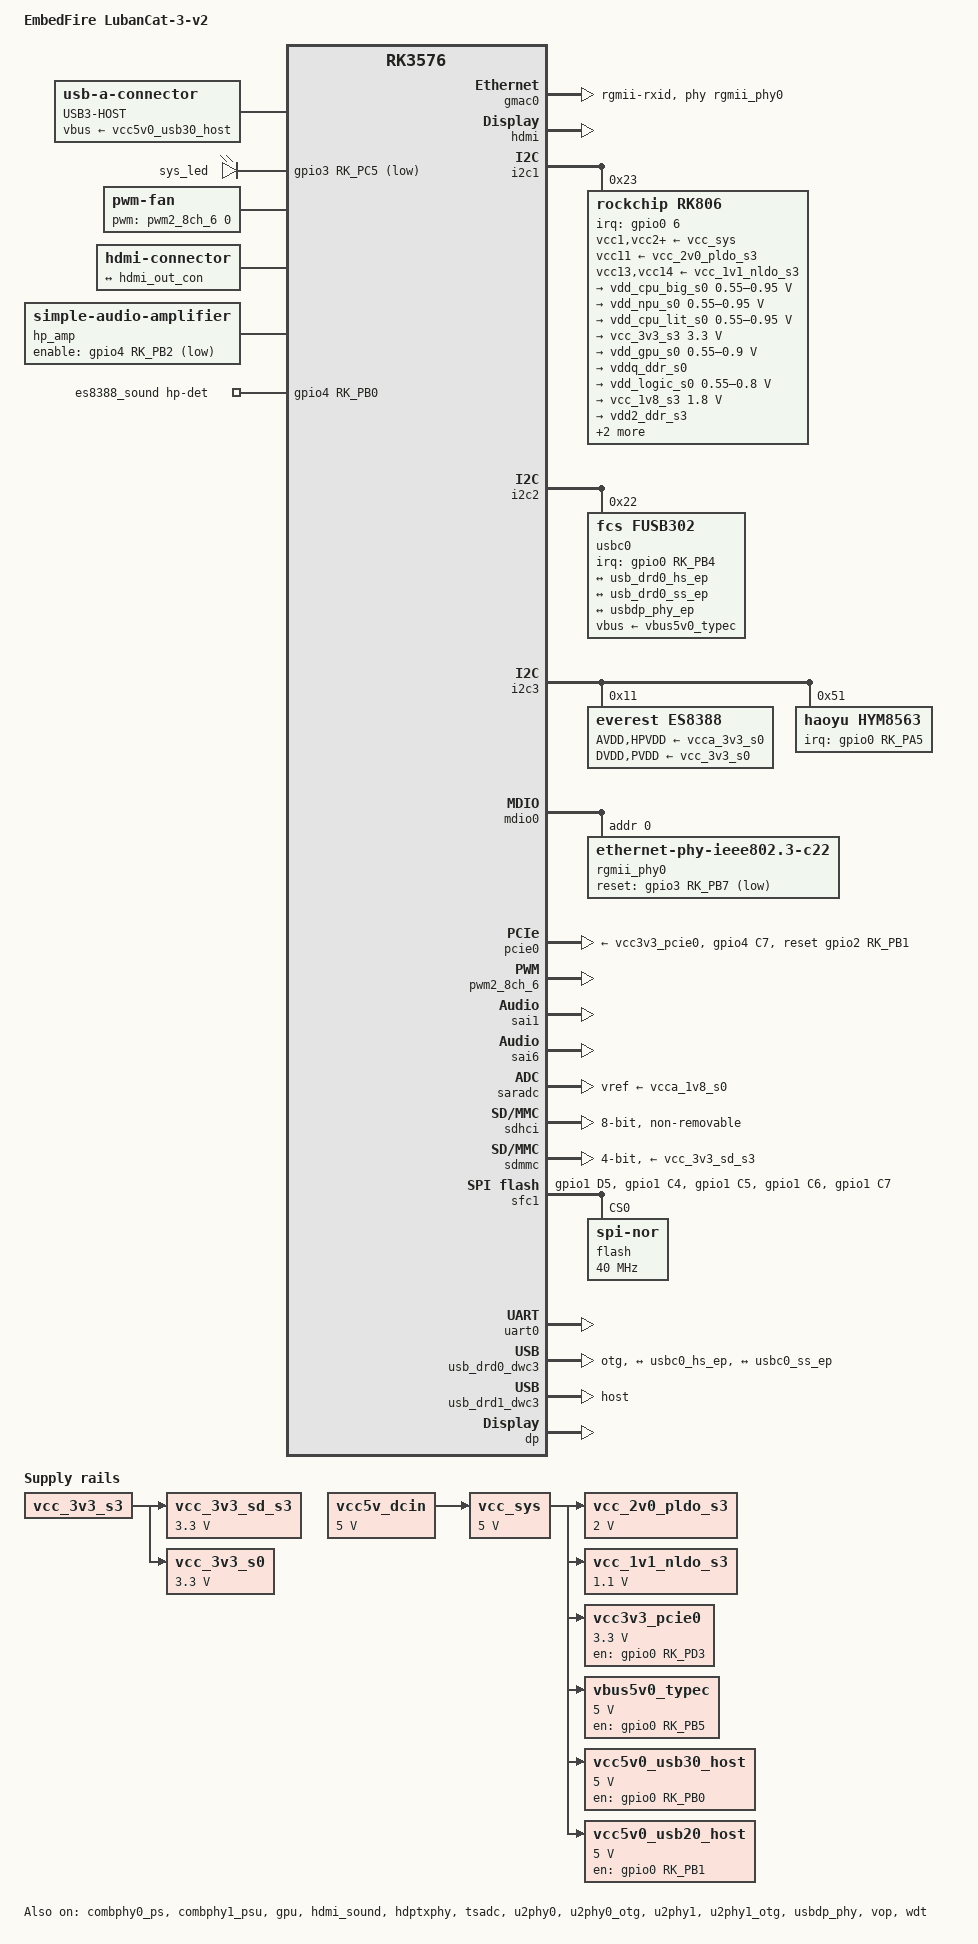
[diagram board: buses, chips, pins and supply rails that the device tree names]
// SPDX-License-Identifier: (GPL-2.0+ OR MIT)
/*
 * Copyright (c) 2026 Rockchip Electronics Co., Ltd.
 * Copyright (c) 2026 EmbedFire <embedfire@embedfire.com>
 */

/dts-v1/;

#include <dt-bindings/gpio/gpio.h>
#include <dt-bindings/input/input.h>
#include <dt-bindings/pinctrl/rockchip.h>
#include <dt-bindings/pwm/pwm.h>
#include <dt-bindings/soc/rockchip,vop2.h>
#include <dt-bindings/usb/pd.h>
#include "rk3576.dtsi"

/ {
	model = "EmbedFire LubanCat-3-v2";
	compatible = "embedfire,rk3576-lubancat-3-v2", "rockchip,rk3576";

	aliases {
		ethernet0 = &gmac0;
		mmc0 = &sdmmc;
		mmc1 = &sdhci;
		rtc0 = &hym8563;
	};

	chosen {
		stdout-path = "serial0:1500000n8";
	};

	vcc5v_dcin: vcc5v-dcin {
		compatible = "regulator-fixed";
		regulator-name = "vcc5v_dcin";
		regulator-always-on;
		regulator-boot-on;
		regulator-min-microvolt = <5000000>;
		regulator-max-microvolt = <5000000>;
	};

	vcc_sys: vcc5v0-sys {
		compatible = "regulator-fixed";
		regulator-name = "vcc_sys";
		regulator-always-on;
		regulator-boot-on;
		regulator-min-microvolt = <5000000>;
		regulator-max-microvolt = <5000000>;
		vin-supply = <&vcc5v_dcin>;
	};

	vcc_2v0_pldo_s3: vcc-2v0-pldo-s3 {
		compatible = "regulator-fixed";
		regulator-name = "vcc_2v0_pldo_s3";
		regulator-boot-on;
		regulator-always-on;
		regulator-min-microvolt = <2000000>;
		regulator-max-microvolt = <2000000>;
		vin-supply = <&vcc_sys>;
	};

	vcc_1v1_nldo_s3: vcc-1v1-nldo-s3 {
		compatible = "regulator-fixed";
		regulator-name = "vcc_1v1_nldo_s3";
		regulator-boot-on;
		regulator-always-on;
		regulator-min-microvolt = <1100000>;
		regulator-max-microvolt = <1100000>;
		vin-supply = <&vcc_sys>;
	};

	vcc_3v3_sd_s3: vcc-3v3-sd-s3 {
		compatible = "regulator-fixed";
		regulator-name = "vcc_3v3_sd_s3";
		regulator-always-on;
		regulator-boot-on;
		regulator-min-microvolt = <3300000>;
		regulator-max-microvolt = <3300000>;
		vin-supply = <&vcc_3v3_s3>;
	};

	vcc3v3_pcie0: vcc3v3-pcie0 {
		compatible = "regulator-fixed";
		regulator-name = "vcc3v3_pcie0";
		regulator-min-microvolt = <3300000>;
		regulator-max-microvolt = <3300000>;
		enable-active-high;
		regulator-always-on;
		gpios = <&gpio0 RK_PD3 GPIO_ACTIVE_HIGH>;
		startup-delay-us = <5000>;
		vin-supply = <&vcc_sys>;
	};

	vbus5v0_typec: vbus5v0-typec {
		compatible = "regulator-fixed";
		regulator-name = "vbus5v0_typec";
		regulator-min-microvolt = <5000000>;
		regulator-max-microvolt = <5000000>;
		enable-active-high;
		gpio = <&gpio0 RK_PB5 GPIO_ACTIVE_HIGH>;
		vin-supply = <&vcc_sys>;
		pinctrl-names = "default";
		pinctrl-0 = <&typec_vbus_en>;
	};

	usb3_host: connector-usb3-host {
		compatible = "usb-a-connector";
		label = "USB3-HOST";
		vbus-supply = <&vcc5v0_usb30_host>;
	};

	vcc5v0_usb30_host: vcc5v0-usb30-host {
		compatible = "regulator-fixed";
		regulator-name = "vcc5v0_usb30_host";
		regulator-min-microvolt = <5000000>;
		regulator-max-microvolt = <5000000>;
		regulator-always-on;
		regulator-boot-on;
		enable-active-high;
		gpio = <&gpio0 RK_PB0 GPIO_ACTIVE_HIGH>;
		vin-supply = <&vcc_sys>;
		pinctrl-names = "default";
		pinctrl-0 = <&usb30_host_pwr_en>;
	};

	vcc5v0_usb20_host: vcc5v0-usb20-host {
		compatible = "regulator-fixed";
		regulator-name = "vcc5v0_usb20_host";
		regulator-min-microvolt = <5000000>;
		regulator-max-microvolt = <5000000>;
		regulator-always-on;
		regulator-boot-on;
		enable-active-high;
		gpio = <&gpio0 RK_PB1 GPIO_ACTIVE_HIGH>;
		vin-supply = <&vcc_sys>;
		pinctrl-names = "default";
		pinctrl-0 = <&usb20_host_pwr_en>;
	};

	leds: leds {
		status = "okay";
		compatible = "gpio-leds";

		sys_led: sys-led {
			label = "sys_led";
			linux,default-trigger = "heartbeat";
			default-state = "on";
			gpios = <&gpio3 RK_PC5 GPIO_ACTIVE_LOW>;
			pinctrl-names = "default";
			pinctrl-0 = <&sys_status_led_pin>;
		};
	};

	/* U30 is switched by PMIC_PWR_CTRL2, not a SoC GPIO (schematic sheet 6). */
	vcc_3v3_s0: regulator-vcc-3v3-s0 {
		compatible = "regulator-fixed";
		regulator-name = "vcc_3v3_s0";
		regulator-min-microvolt = <3300000>;
		regulator-max-microvolt = <3300000>;
		regulator-always-on;
		regulator-boot-on;
		vin-supply = <&vcc_3v3_s3>;
	};

	fan: pwm-fan {
		compatible = "pwm-fan";
		#cooling-cells = <2>;
		pwms = <&pwm2_8ch_6 0 5000 0>;
		cooling-levels = <0 100 150 200 255>;
	};

	hdmi-con {
		compatible = "hdmi-connector";
		type = "c";

		port {
			hdmi_con_in: endpoint {
				remote-endpoint = <&hdmi_out_con>;
			};
		};
	};

	/* Q11/Q12 shunt the headphone outputs when EARPHONE_CTL is high. */
	hp_amp: audio-amplifier {
		compatible = "simple-audio-amplifier";
		enable-gpios = <&gpio4 RK_PB2 GPIO_ACTIVE_LOW>;
		sound-name-prefix = "Headphone Amp";
	};

	es8388_sound: sound {
		compatible = "simple-audio-card";
		pinctrl-names = "default";
		pinctrl-0 = <&hp_det>;
		simple-audio-card,name = "LubanCat ES8388";
		simple-audio-card,format = "i2s";
		simple-audio-card,mclk-fs = <256>;
		simple-audio-card,aux-devs = <&hp_amp>;
		simple-audio-card,hp-det-gpios = <&gpio4 RK_PB0 GPIO_ACTIVE_HIGH>;
		simple-audio-card,widgets = "Headphone", "Headphone",
					    "Microphone", "Main Mic",
					    "Microphone", "Headset Mic";
		/* Sheet 22: onboard MIC2 uses input 2; the jack uses input 1. */
		simple-audio-card,routing = "Headphone", "Headphone Amp OUTL",
					    "Headphone", "Headphone Amp OUTR",
					    "Headphone Amp INL", "LOUT1",
					    "Headphone Amp INR", "ROUT1",
					    "LINPUT2", "Main Mic",
					    "RINPUT2", "Main Mic",
					    "LINPUT1", "Headset Mic",
					    "RINPUT1", "Headset Mic";

		simple-audio-card,cpu {
			sound-dai = <&sai1>;
		};

		simple-audio-card,codec {
			sound-dai = <&es8388>;
			system-clock-frequency = <12288000>;
		};
	};
};

&combphy0_ps {
	status = "okay";
};

&combphy1_psu {
	status = "okay";
};

&cpu_b0 {
	cpu-supply = <&vdd_cpu_big_s0>;
};

&cpu_b1 {
	cpu-supply = <&vdd_cpu_big_s0>;
};

&cpu_b2 {
	cpu-supply = <&vdd_cpu_big_s0>;
};

&cpu_b3 {
	cpu-supply = <&vdd_cpu_big_s0>;
};

&cpu_l0 {
	cpu-supply = <&vdd_cpu_lit_s0>;
};

&cpu_l1 {
	cpu-supply = <&vdd_cpu_lit_s0>;
};

&cpu_l2 {
	cpu-supply = <&vdd_cpu_lit_s0>;
};

&cpu_l3 {
	cpu-supply = <&vdd_cpu_lit_s0>;
};

&gmac0 {
	phy-mode = "rgmii-rxid";
	clock_in_out = "output";

	pinctrl-names = "default";
	pinctrl-0 = <&eth0m0_miim
			&eth0m0_tx_bus2
			&eth0m0_rx_bus2
			&eth0m0_rgmii_clk
			&eth0m0_rgmii_bus
			&eth0m0_mclk>;

	tx_delay = <0x05>;
	rx_delay = <0x05>;

	phy-handle = <&rgmii_phy0>;
	status = "okay";
};

&gpu {
	mali-supply = <&vdd_gpu_s0>;
	status = "okay";
};

&hdmi {
	frl-enable-gpios = <&gpio4 RK_PC6 GPIO_ACTIVE_LOW>;
	status = "okay";
};

&hdmi_in {
	hdmi_in_vp0: endpoint {
		remote-endpoint = <&vp0_out_hdmi>;
	};
};

&hdmi_out {
	hdmi_out_con: endpoint {
		remote-endpoint = <&hdmi_con_in>;
	};
};

&hdmi_sound {
	status = "okay";
};

&hdptxphy {
	status = "okay";
};

&i2c1 {
	pinctrl-names = "default";
	pinctrl-0 = <&i2c1m0_xfer>;
	status = "okay";

	rk806: pmic@23 {
		compatible = "rockchip,rk806";
		reg = <0x23>;

		interrupt-parent = <&gpio0>;
		interrupts = <6 IRQ_TYPE_LEVEL_LOW>;

		pinctrl-names = "default";
		pinctrl-0 = <&pmic_pins>;

		system-power-controller;

		vcc1-supply = <&vcc_sys>;
		vcc2-supply = <&vcc_sys>;
		vcc3-supply = <&vcc_sys>;
		vcc4-supply = <&vcc_sys>;
		vcc5-supply = <&vcc_sys>;
		vcc6-supply = <&vcc_sys>;
		vcc7-supply = <&vcc_sys>;
		vcc8-supply = <&vcc_sys>;
		vcc9-supply = <&vcc_sys>;
		vcc10-supply = <&vcc_sys>;
		vcc11-supply = <&vcc_2v0_pldo_s3>;
		vcc12-supply = <&vcc_sys>;
		vcc13-supply = <&vcc_1v1_nldo_s3>;
		vcc14-supply = <&vcc_1v1_nldo_s3>;
		vcca-supply = <&vcc_sys>;

		regulators {
			vdd_cpu_big_s0: dcdc-reg1 {
				regulator-always-on;
				regulator-boot-on;
				regulator-min-microvolt = <550000>;
				regulator-max-microvolt = <950000>;
				regulator-ramp-delay = <12500>;
				regulator-name = "vdd_cpu_big_s0";
				regulator-enable-ramp-delay = <400>;
				regulator-state-mem {
					regulator-off-in-suspend;
				};
			};

			vdd_npu_s0: dcdc-reg2 {
				regulator-boot-on;
				regulator-min-microvolt = <550000>;
				regulator-max-microvolt = <950000>;
				regulator-ramp-delay = <12500>;
				regulator-name = "vdd_npu_s0";
				regulator-enable-ramp-delay = <400>;
				regulator-state-mem {
					regulator-off-in-suspend;
				};
			};

			vdd_cpu_lit_s0: dcdc-reg3 {
				regulator-always-on;
				regulator-boot-on;
				regulator-min-microvolt = <550000>;
				regulator-max-microvolt = <950000>;
				regulator-ramp-delay = <12500>;
				regulator-name = "vdd_cpu_lit_s0";
				regulator-state-mem {
					regulator-off-in-suspend;
					regulator-suspend-microvolt = <750000>;
				};
			};

			vcc_3v3_s3: dcdc-reg4 {
				regulator-always-on;
				regulator-boot-on;
				regulator-min-microvolt = <3300000>;
				regulator-max-microvolt = <3300000>;
				regulator-name = "vcc_3v3_s3";
				regulator-state-mem {
					regulator-on-in-suspend;
					regulator-suspend-microvolt = <3300000>;
				};
			};

			vdd_gpu_s0: dcdc-reg5 {
				regulator-boot-on;
				regulator-min-microvolt = <550000>;
				regulator-max-microvolt = <900000>;
				regulator-ramp-delay = <12500>;
				regulator-name = "vdd_gpu_s0";
				regulator-enable-ramp-delay = <400>;
				regulator-state-mem {
					regulator-off-in-suspend;
					regulator-suspend-microvolt = <850000>;
				};
			};

			vddq_ddr_s0: dcdc-reg6 {
				regulator-always-on;
				regulator-boot-on;
				regulator-name = "vddq_ddr_s0";
				regulator-state-mem {
					regulator-off-in-suspend;
				};
			};

			vdd_logic_s0: vdd_log_mem_s0: dcdc-reg7 {
				regulator-always-on;
				regulator-boot-on;
				regulator-min-microvolt = <550000>;
				regulator-max-microvolt = <800000>;
				regulator-name = "vdd_logic_s0";
				regulator-state-mem {
					regulator-off-in-suspend;
				};
			};

			vcc_1v8_s3: dcdc-reg8 {
				regulator-always-on;
				regulator-boot-on;
				regulator-min-microvolt = <1800000>;
				regulator-max-microvolt = <1800000>;
				regulator-name = "vcc_1v8_s3";
				regulator-state-mem {
					regulator-on-in-suspend;
					regulator-suspend-microvolt = <1800000>;
				};
			};

			vdd2_ddr_s3: dcdc-reg9 {
				regulator-always-on;
				regulator-boot-on;
				regulator-name = "vdd2_ddr_s3";
				regulator-state-mem {
					regulator-on-in-suspend;
				};
			};

			vdd_ddr_s0: dcdc-reg10 {
				regulator-always-on;
				regulator-boot-on;
				regulator-min-microvolt = <550000>;
				regulator-max-microvolt = <1200000>;
				regulator-name = "vdd_ddr_s0";
				regulator-state-mem {
					regulator-off-in-suspend;
				};
			};

			vcca_1v8_s0: pldo-reg1 {
				regulator-always-on;
				regulator-boot-on;
				regulator-min-microvolt = <1800000>;
				regulator-max-microvolt = <1800000>;
				regulator-name = "vcca_1v8_s0";
				regulator-state-mem {
					regulator-off-in-suspend;
				};
			};

			vcca1v8_pldo2_s0: pldo-reg2 {
				regulator-always-on;
				regulator-boot-on;
				regulator-min-microvolt = <1800000>;
				regulator-max-microvolt = <1800000>;
				regulator-name = "vcca1v8_pldo2_s0";
				regulator-state-mem {
					regulator-off-in-suspend;
				};
			};

			vdda_1v2_s0: pldo-reg3 {
				regulator-always-on;
				regulator-boot-on;
				regulator-min-microvolt = <1200000>;
				regulator-max-microvolt = <1200000>;
				regulator-name = "vdda_1v2_s0";
				regulator-state-mem {
					regulator-off-in-suspend;
				};
			};

			vcca_3v3_s0: pldo-reg4 {
				regulator-always-on;
				regulator-boot-on;
				regulator-min-microvolt = <3300000>;
				regulator-max-microvolt = <3300000>;
				regulator-name = "vcca_3v3_s0";
				regulator-state-mem {
					regulator-off-in-suspend;
				};
			};

			vccio_sd_s0: pldo-reg5 {
				regulator-always-on;
				regulator-boot-on;
				regulator-min-microvolt = <1800000>;
				regulator-max-microvolt = <3300000>;
				regulator-name = "vccio_sd_s0";
				regulator-state-mem {
					regulator-off-in-suspend;
				};
			};

			vcca1v8_pldo6_s3: pldo-reg6 {
				regulator-always-on;
				regulator-boot-on;
				regulator-min-microvolt = <1800000>;
				regulator-max-microvolt = <1800000>;
				regulator-name = "vcca1v8_pldo6_s3";
				regulator-state-mem {
					regulator-on-in-suspend;
					regulator-suspend-microvolt = <1800000>;
				};
			};

			vdd_0v75_s3: nldo-reg1 {
				regulator-always-on;
				regulator-boot-on;
				regulator-min-microvolt = <750000>;
				regulator-max-microvolt = <750000>;
				regulator-name = "vdd_0v75_s3";
				regulator-state-mem {
					regulator-on-in-suspend;
					regulator-suspend-microvolt = <750000>;
				};
			};

			vdda_ddr_pll_s0: nldo-reg2 {
				regulator-always-on;
				regulator-boot-on;
				regulator-min-microvolt = <850000>;
				regulator-max-microvolt = <850000>;
				regulator-name = "vdda_ddr_pll_s0";
				regulator-state-mem {
					regulator-off-in-suspend;
				};
			};

			vdda0v75_hdmi_s0: nldo-reg3 {
				regulator-always-on;
				regulator-boot-on;
				regulator-min-microvolt = <837500>;
				regulator-max-microvolt = <837500>;
				regulator-name = "vdda0v75_hdmi_s0";
				regulator-state-mem {
					regulator-off-in-suspend;
				};
			};

			vdda_0v85_s0: nldo-reg4 {
				regulator-always-on;
				regulator-boot-on;
				regulator-min-microvolt = <850000>;
				regulator-max-microvolt = <850000>;
				regulator-name = "vdda_0v85_s0";
				regulator-state-mem {
					regulator-off-in-suspend;
				};
			};

			vdda_0v75_s0: nldo-reg5 {
				regulator-always-on;
				regulator-boot-on;
				regulator-min-microvolt = <750000>;
				regulator-max-microvolt = <750000>;
				regulator-name = "vdda_0v75_s0";
				regulator-state-mem {
					regulator-off-in-suspend;
				};
			};
		};
	};
};

&i2c2 {
	pinctrl-names = "default";
	pinctrl-0 = <&i2c2m0_xfer>;
	status = "okay";

	usbc0: typec-portc@22 {
		compatible = "fcs,fusb302";
		reg = <0x22>;
		interrupt-parent = <&gpio0>;
		interrupts = <RK_PB4 IRQ_TYPE_LEVEL_LOW>;
		pinctrl-names = "default";
		pinctrl-0 = <&fusb302_int>;
		vbus-supply = <&vbus5v0_typec>;

		connector {
			compatible = "usb-c-connector";
			label = "USB-C";
			data-role = "dual";
			power-role = "dual";
			try-power-role = "sink";
			op-sink-microwatt = <1000000>;
			sink-pdos = <PDO_FIXED(5000, 1000, PDO_FIXED_USB_COMM)>;
			source-pdos = <PDO_FIXED(5000, 3000, PDO_FIXED_USB_COMM)>;

			altmodes {
				displayport {
					svid = /bits/ 16 <0xff01>;
					vdo = <0xffffffff>;
				};
			};

			ports {
				#address-cells = <1>;
				#size-cells = <0>;

				port@0 {
					reg = <0>;
					usbc0_hs_ep: endpoint {
						remote-endpoint = <&usb_drd0_hs_ep>;
					};
				};

				port@1 {
					reg = <1>;
					usbc0_ss_ep: endpoint {
						remote-endpoint = <&usb_drd0_ss_ep>;
					};
				};

				port@2 {
					reg = <2>;
					usbc0_dp_ep: endpoint {
						remote-endpoint = <&usbdp_phy_ep>;
					};
				};
			};
		};
	};
};

&i2c3 {
	pinctrl-names = "default";
	pinctrl-0 = <&i2c3m0_xfer>;
	status = "okay";

	es8388: audio-codec@11 {
		status = "okay";
		#sound-dai-cells = <0>;
		compatible = "everest,es8388", "everest,es8328";
		/* Sheet 22: L20 feeds analog power; L21 feeds digital power. */
		AVDD-supply = <&vcca_3v3_s0>;
		HPVDD-supply = <&vcca_3v3_s0>;
		DVDD-supply = <&vcc_3v3_s0>;
		PVDD-supply = <&vcc_3v3_s0>;
		reg = <0x11>;
		clocks = <&cru CLK_SAI1_MCLKOUT_TO_IO>;
		assigned-clocks = <&cru CLK_SAI1_MCLKOUT_TO_IO>;
		assigned-clock-rates = <12288000>;
		pinctrl-names = "default";
		pinctrl-0 = <&sai1m0_mclk>;
	};

	hym8563: rtc@51 {
		compatible = "haoyu,hym8563";
		reg = <0x51>;
		#clock-cells = <0>;
		clock-output-names = "hym8563";
		pinctrl-names = "default";
		pinctrl-0 = <&hym8563_int>;
		interrupt-parent = <&gpio0>;
		interrupts = <RK_PA5 IRQ_TYPE_LEVEL_LOW>;
		wakeup-source;
	};
};

&mdio0 {
	rgmii_phy0: ethernet-phy@0 {
		compatible = "ethernet-phy-ieee802.3-c22";
		reg = <0x0>;
		clocks = <&cru REFCLKO25M_GMAC0_OUT>;

		assigned-clocks = <&cru REFCLKO25M_GMAC0_OUT>;
		assigned-clock-rates = <25000000>;
		reset-gpios = <&gpio3 RK_PB7 GPIO_ACTIVE_LOW>;
		reset-assert-us = <20000>;
		reset-deassert-us = <100000>;
	};
};

&package_thermal {
	polling-delay = <1000>;

	trips {
		package_fan0: package-fan0 {
			temperature = <40000>;
			hysteresis = <2000>;
			type = "active";
		};

		package_fan1: package-fan1 {
			temperature = <55000>;
			hysteresis = <2000>;
			type = "active";
		};

		package_fan2: package-fan2 {
			temperature = <60000>;
			hysteresis = <2000>;
			type = "active";
		};

		package_fan3: package-fan3 {
			temperature = <65000>;
			hysteresis = <2000>;
			type = "active";
		};
	};

	cooling-maps {
		map-fan0 {
			trip = <&package_fan0>;
			cooling-device = <&fan 1 1>;
		};

		map-fan1 {
			trip = <&package_fan1>;
			cooling-device = <&fan 2 2>;
		};

		map-fan2 {
			trip = <&package_fan2>;
			cooling-device = <&fan 3 3>;
		};

		map-fan3 {
			trip = <&package_fan3>;
			cooling-device = <&fan 4 4>;
		};
	};
};

&pcie0 {
	reset-gpios = <&gpio2 RK_PB1 GPIO_ACTIVE_HIGH>;
	vpcie3v3-supply = <&vcc3v3_pcie0>;
	pinctrl-names = "default";
	pinctrl-0 = <&pcie_disable_gpio>;
	status = "okay";
};

&pinctrl {
	leds {
		sys_status_led_pin: sys-status-led-pin {
			rockchip,pins = <3 RK_PC5 RK_FUNC_GPIO &pcfg_pull_none>;
		};
	};

	hym8563 {
		hym8563_int: hym8563-int {
			rockchip,pins = <0 RK_PA5 RK_FUNC_GPIO &pcfg_pull_up>;
		};
	};

	usb-typec {
		fusb302_int: fusb302-int {
			rockchip,pins = <0 RK_PB4 RK_FUNC_GPIO &pcfg_pull_up>;
		};

		typec_vbus_en: typec-vbus-en {
			rockchip,pins = <0 RK_PB5 RK_FUNC_GPIO &pcfg_pull_none>;
		};
	};

	usb-host {
		usb30_host_pwr_en: usb30-host-pwr-en {
			rockchip,pins = <0 RK_PB0 RK_FUNC_GPIO &pcfg_pull_none>;
		};
		usb20_host_pwr_en: usb20-host-pwr-en {
			rockchip,pins = <0 RK_PB1 RK_FUNC_GPIO &pcfg_pull_none>;
		};
	};

	headphone {
		hp_det: hp-det {
			rockchip,pins = <4 RK_PB0 RK_FUNC_GPIO &pcfg_pull_up>;
		};
	};

	pcie {
		pcie_disable_gpio: pcie-disable-gpio {
			rockchip,pins = <4 RK_PC7 RK_FUNC_GPIO &pcfg_pull_up>;
		};
	};

	fspi1m1_correct {
		fspi1m1_correct_pins: fspi1m1-correct-pins {
			rockchip,pins =
				<1 RK_PD5 3 &pcfg_pull_none>,
				<1 RK_PC4 3 &pcfg_pull_none>,
				<1 RK_PC5 3 &pcfg_pull_none>,
				<1 RK_PC6 3 &pcfg_pull_none>,
				<1 RK_PC7 3 &pcfg_pull_none>;
		};
	};
};

&pwm2_8ch_6 {
	status = "okay";
	pinctrl-0 = <&pwm2m0_ch6>;
};

&sai1 {
	status = "okay";
	rockchip,sai-tx-route = <2 1 0 3>;
	pinctrl-names = "default";
	pinctrl-0 = <&sai1m0_lrck
			&sai1m0_sclk
			&sai1m0_sdi0
			&sai1m0_sdo2>;
};

&sai6 {
	status = "okay";
};

&saradc {
	status = "okay";
	vref-supply = <&vcca_1v8_s0>;
};

&sdhci {
	bus-width = <8>;
	no-sdio;
	no-sd;
	non-removable;
	max-frequency = <200000000>;
	mmc-hs400-1_8v;
	mmc-hs400-enhanced-strobe;
	status = "okay";
};

&sdmmc {
	max-frequency = <200000000>;
	no-sdio;
	no-mmc;
	bus-width = <4>;
	cap-mmc-highspeed;
	cap-sd-highspeed;
	disable-wp;
	sd-uhs-sdr104;
	vmmc-supply = <&vcc_3v3_sd_s3>;
	vqmmc-supply = <&vccio_sd_s0>;
	pinctrl-names = "default";
	pinctrl-0 = <&sdmmc0_clk &sdmmc0_cmd &sdmmc0_det &sdmmc0_bus4>;
	status = "okay";
};

&sfc1 {
	status = "okay";
	pinctrl-names = "default";
	pinctrl-0 = <&fspi1m1_correct_pins &fspi1m1_csn0>;

	flash@0 {
		compatible = "jedec,spi-nor";
		reg = <0>;
		spi-max-frequency = <40000000>;
		spi-rx-bus-width = <4>;
		spi-tx-bus-width = <1>;
	};
};

&tsadc {
	status = "okay";
};

&u2phy0 {
	status = "okay";
};

&u2phy0_otg {
	status = "okay";
};

&u2phy1 {
	status = "okay";
};

&u2phy1_otg {
	phy-supply = <&vcc5v0_usb20_host>;
	status = "okay";
};

&uart0 {
	pinctrl-0 = <&uart0m0_xfer>;
	pinctrl-names = "default";
	status = "okay";
};

&usb_drd0_dwc3 {
	dr_mode = "otg";
	usb-role-switch;
	status = "okay";

	ports {
		#address-cells = <1>;
		#size-cells = <0>;

		port@0 {
			reg = <0>;
			usb_drd0_hs_ep: endpoint {
				remote-endpoint = <&usbc0_hs_ep>;
			};
		};

		port@1 {
			reg = <1>;
			usb_drd0_ss_ep: endpoint {
				remote-endpoint = <&usbc0_ss_ep>;
			};
		};
	};
};

&usb_drd1_dwc3 {
	dr_mode = "host";
	status = "okay";
};

&usbdp_phy {
	mode-switch;
	orientation-switch;
	sbu1-dc-gpios = <&gpio4 RK_PC4 GPIO_ACTIVE_HIGH>;
	sbu2-dc-gpios = <&gpio4 RK_PC5 GPIO_ACTIVE_HIGH>;
	status = "okay";

	port {
		usbdp_phy_ep: endpoint {
			remote-endpoint = <&usbc0_dp_ep>;
		};
	};
};

&vop {
	status = "okay";
};

&vop_mmu {
	status = "okay";
};

&vp0 {
	vp0_out_hdmi: endpoint@ROCKCHIP_VOP2_EP_HDMI0 {
		reg = <ROCKCHIP_VOP2_EP_HDMI0>;
		remote-endpoint = <&hdmi_in_vp0>;
	};
};

&wdt {
	status = "okay";
};

/* RK3576 DisplayPort is present in the 7.2 and 7.3 SoC descriptions. */
&dp {
	status = "okay";
};

&dp0_in {
	dp0_in_vp2: endpoint {
		remote-endpoint = <&vp2_out_dp0>;
	};
};

&vp2 {
	vp2_out_dp0: endpoint@a {
		reg = <ROCKCHIP_VOP2_EP_DP0>;
		remote-endpoint = <&dp0_in_vp2>;
	};
};
